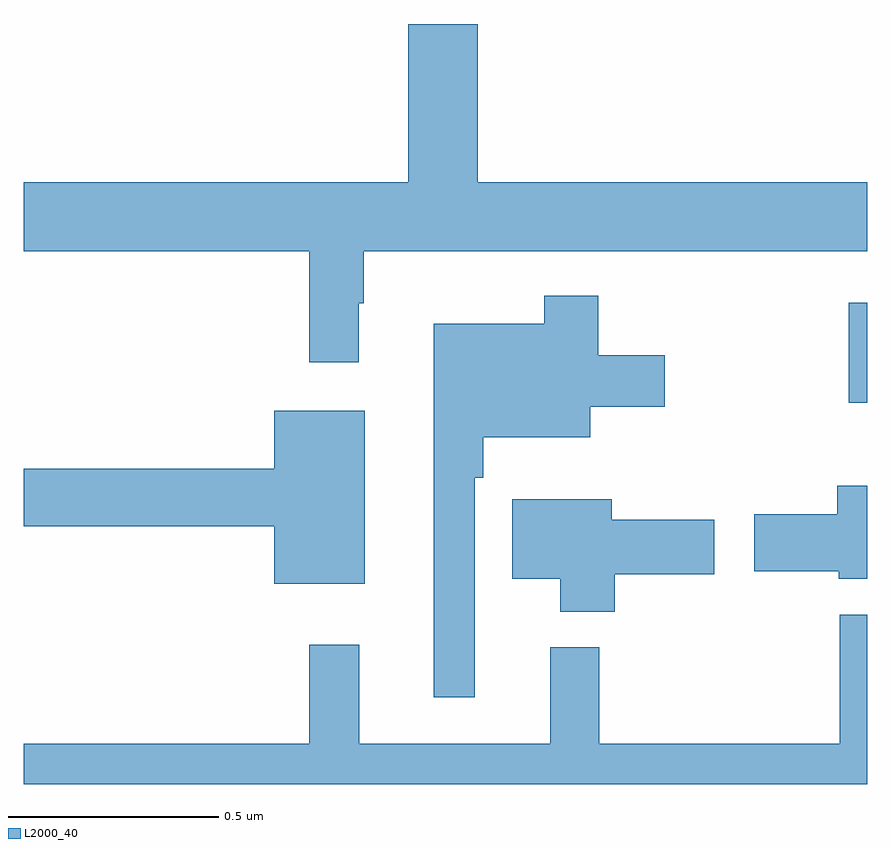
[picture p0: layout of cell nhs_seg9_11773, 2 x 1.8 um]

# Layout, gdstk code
import gdstk
lib = gdstk.Library(unit=1e-6, precision=1e-09)
def R(c, l, rs):  # rectangles x0, y0, x1, y1
    for r in rs: c.add(gdstk.rectangle(r[:2], r[2:], *l))
def P(c, l, *ps):  # polygons
    for p in ps: c.add(gdstk.Polygon(p, *l))
L2000_40 = (2000, 40)

nhs_seg9_11773 = lib.new_cell('nhs_seg9_11773')
R(nhs_seg9_11773, L2000_40, [(261.957,1185.405,262,1185.642)])
P(nhs_seg9_11773, L2000_40, [(260.794,1185.641),(260.806,1185.641),(260.806,1185.764),(262,1185.764),(262,1185.928),(261.076,1185.928),(261.076,1186.303),(260.912,1186.303),(260.912,1185.928),(260,1185.928),(260,1185.764),(260.677,1185.764),(260.677,1185.501),(260.794,1185.501)],
  [(261.069,1185.227),(261.089,1185.227),(261.089,1185.323),(261.343,1185.323),(261.343,1185.395),(261.52,1185.395),(261.52,1185.517),(261.362,1185.517),(261.362,1185.658),(261.234,1185.658),(261.234,1185.592),(260.972,1185.592),(260.972,1184.706),(261.069,1184.706)],
  [(260.809,1185.385),(260.594,1185.385),(260.594,1185.248),(260,1185.248),(260,1185.112),(260.594,1185.112),(260.594,1184.975),(260.809,1184.975)],
  [(262,1185.208),(261.929,1185.208),(261.929,1185.14),(261.732,1185.14),(261.732,1185.005),(261.933,1185.005),(261.933,1184.987),(262,1184.987)],
  [(261.402,1184.998),(261.637,1184.998),(261.637,1185.127),(261.394,1185.127),(261.394,1185.175),(261.158,1185.175),(261.158,1184.987),(261.272,1184.987),(261.272,1184.909),(261.402,1184.909)],
  [(262,1184.902),(261.935,1184.902),(261.935,1184.596),(261.365,1184.596),(261.365,1184.824),(261.248,1184.824),(261.248,1184.596),(260.795,1184.596),(260.795,1184.83),(260.677,1184.83),(260.677,1184.596),(260,1184.596),(260,1184.5),(262,1184.5)])

lib.write_gds('nhs_seg9_11773.gds')
